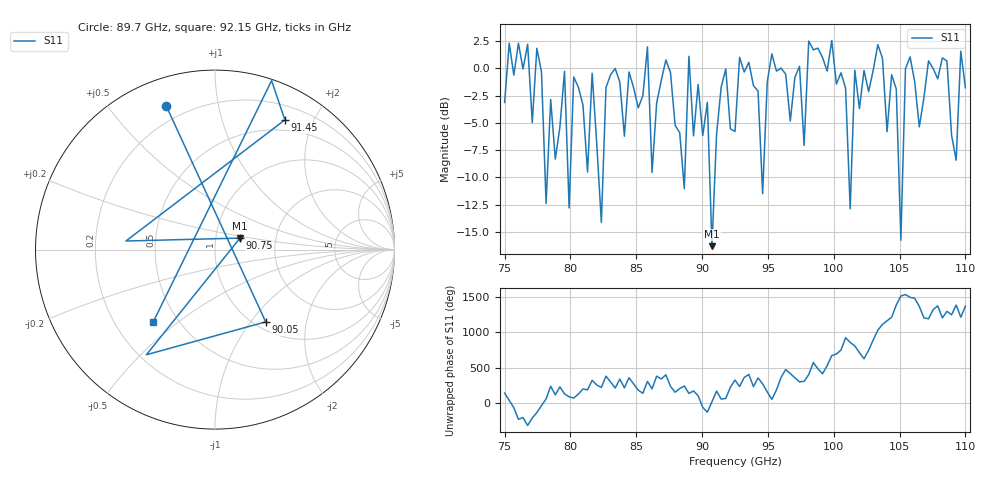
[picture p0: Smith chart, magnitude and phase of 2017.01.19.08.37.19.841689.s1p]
!Created with skrf (http://scikit-rf.org).
# GHz S RI R 50.0
!freq ReS11 ImS11
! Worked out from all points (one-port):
!   101 points, 75 GHz to 110 GHz, reference 50 ohm
!   lowest |S11| = -16.3 dB at 90.75 GHz (marker M1), VSWR 1.36, Z = 65.5 + j8.6 ohm
!   |S11| at or under -10 dB: 78.08103 GHz to 78.23745 GHz (156.4 MHz wide, 0.2 % of centre); 79.82183 GHz to 79.98151 GHz (159.7 MHz wide, 0.2 % of centre); 82.14852 GHz to 82.46662 GHz (318.1 MHz wide, 0.386 % of centre) (the widest 3 of 8)
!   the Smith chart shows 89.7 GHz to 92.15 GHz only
!   S11 on the Smith chart (normalised r, x): 89.7 GHz: 0.13, +0.71; 90.05 GHz: 1.12, -1.19; 90.75 GHz: 1.31, +0.17; 91.45 GHz: 0.36, +1.61; 92.15 GHz: 0.37, -0.41
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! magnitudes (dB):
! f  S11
! 75 GHz  -3.1
! 77.45 GHz  1.8
! 78.15 GHz  -12.4
! 79.55 GHz  -0.3
! 79.9 GHz  -12.8
! 80.25 GHz  -0.8
! 81.3 GHz  -9.5
! 81.65 GHz  -0.4
! 82.35 GHz  -14.1
! 82.7 GHz  -1.8
! 83.75 GHz  -1.3
! 88.3 GHz  -5.9
! 89.7 GHz  -1.5
! 90.05 GHz  -6.2
! 90.4 GHz  -3.1
! 90.75 GHz  -16.3
! 91.45 GHz  -1.7
! 92.15 GHz  -5.6
! 92.5 GHz  -5.8
! 97.05 GHz  -0.8
! 99.85 GHz  2.6
! 101.2 GHz  -12.9
! 101.6 GHz  -0.2
! 103.3 GHz  2.2
! 104.8 GHz  -1.9
! 105.1 GHz  -15.7
! 105.8 GHz  1.0
! 110 GHz  -1.8
